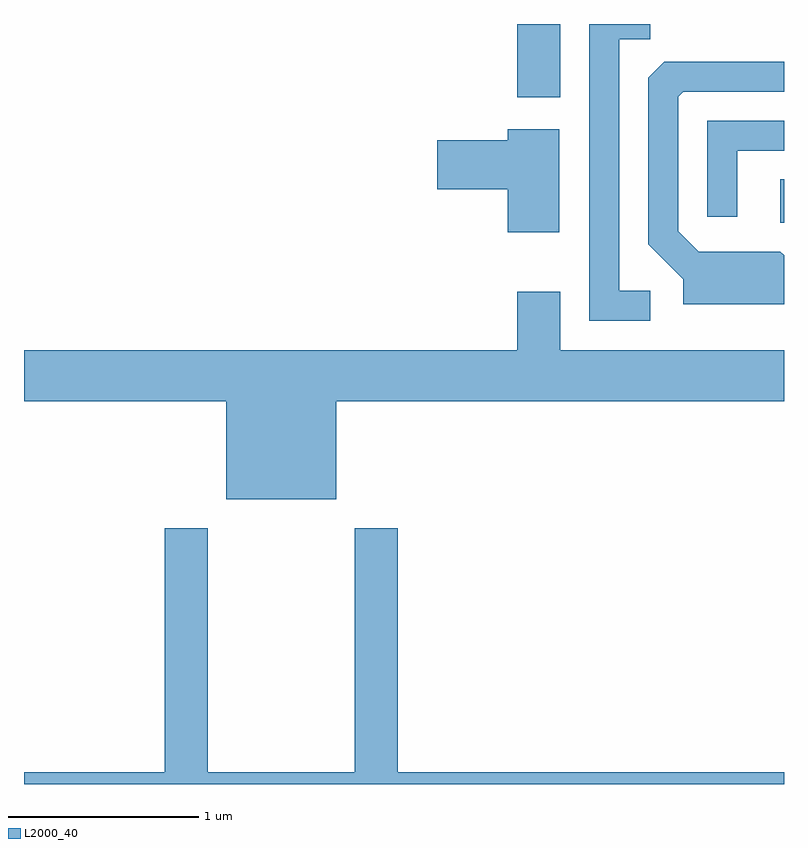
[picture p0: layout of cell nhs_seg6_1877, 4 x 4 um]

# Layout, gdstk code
import gdstk
lib = gdstk.Library(unit=1e-6, precision=1e-09)
def R(c, l, rs):  # rectangles x0, y0, x1, y1
    for r in rs: c.add(gdstk.rectangle(r[:2], r[2:], *l))
def P(c, l, *ps):  # polygons
    for p in ps: c.add(gdstk.Polygon(p, *l))
L2000_40 = (2000, 40)

nhs_seg6_1877 = lib.new_cell('nhs_seg6_1877')
R(nhs_seg6_1877, L2000_40, [(245.591,1633.116,245.611,1633.344), (244.206,1633.776,244.434,1634.162)])
P(nhs_seg6_1877, L2000_40, [(244.908,1632.759),(244.744,1632.759),(244.744,1634.081),(244.908,1634.081),(244.908,1634.162),(244.586,1634.162),(244.586,1632.601),(244.908,1632.601)],
  [(245.611,1632.945),(245.592,1632.964),(245.162,1632.964),(245.054,1633.072),(245.054,1633.779),(245.082,1633.806),(245.611,1633.806),(245.611,1633.964),(244.982,1633.964),(244.896,1633.879),(244.896,1633.004),(245.081,1632.819),(245.081,1632.686),(245.611,1632.686)],
  [(245.364,1633.496),(245.611,1633.496),(245.611,1633.654),(245.206,1633.654),(245.206,1633.148),(245.364,1633.148)],
  [(244.429,1633.609),(244.156,1633.609),(244.156,1633.549),(243.786,1633.549),(243.786,1633.291),(244.156,1633.291),(244.156,1633.066),(244.429,1633.066)],
  [(243.254,1632.176),(245.611,1632.176),(245.611,1632.444),(244.434,1632.444),(244.434,1632.754),(244.206,1632.754),(244.206,1632.444),(241.611,1632.444),(241.611,1632.176),(242.676,1632.176),(242.676,1631.661),(243.254,1631.661)],
  [(245.611,1630.224),(243.579,1630.224),(243.579,1631.509),(243.351,1631.509),(243.351,1630.224),(242.579,1630.224),(242.579,1631.509),(242.351,1631.509),(242.351,1630.224),(241.611,1630.224),(241.611,1630.162),(245.611,1630.162)])

lib.write_gds('nhs_seg6_1877.gds')
